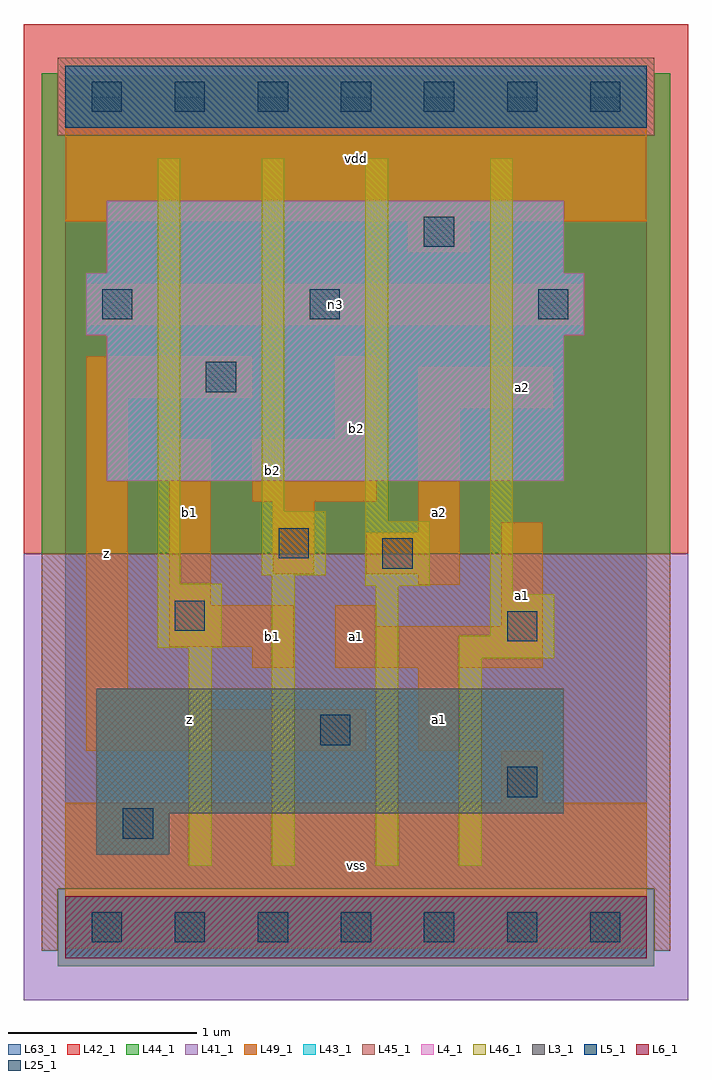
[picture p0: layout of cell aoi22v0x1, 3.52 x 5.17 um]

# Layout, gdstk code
import gdstk
lib = gdstk.Library(unit=1e-6, precision=1e-09)
def R(c, l, rs):  # rectangles x0, y0, x1, y1
    for r in rs: c.add(gdstk.rectangle(r[:2], r[2:], *l))
def A(c, l, x, y, w, h, nx, ny, dx, dy):  # array of equal rectangles
    R(c, l, [(x+i*dx, y+j*dy, x+i*dx+w, y+j*dy+h) for i in range(nx) for j in range(ny)])
L3_1 = (3, 1)
L4_1 = (4, 1)
L5_1 = (5, 1)
L6_1 = (6, 1)
L25_1 = (25, 1)
L41_1 = (41, 1)
L42_1 = (42, 1)
L43_1 = (43, 1)
L44_1 = (44, 1)
L45_1 = (45, 1)
L46_1 = (46, 1)
L49_1 = (49, 1)
L63_1 = (63, 1)

aoi22v0x1 = lib.new_cell('aoi22v0x1')
R(aoi22v0x1, L3_1, [(0.165,0.385,0.55,0.605), (0.165,0.605,2.64,1.265)])
R(aoi22v0x1, L4_1, [(0.22,2.365,2.64,3.135), (0.11,3.135,2.75,3.465), (0.22,3.465,2.64,3.85)])
R(aoi22v0x1, L5_1, [(0,4.235,3.08,4.565)])
R(aoi22v0x1, L6_1, [(0,-0.165,3.08,0.165)])
A(aoi22v0x1, L25_1, 0.14, -0.08, 0.16, 0.16, 7, 2, 0.44, 4.4)
R(aoi22v0x1, L25_1, [(0.305,0.47,0.465,0.63), (2.34,0.69,2.5,0.85), (1.35,0.965,1.51,1.125), (2.34,1.515,2.5,1.675), (0.58,1.57,0.74,1.73), (1.68,1.9,1.84,2.06), (1.13,1.955,1.29,2.115), (0.745,2.835,0.905,2.995), (0.195,3.22,0.355,3.38), (1.295,3.22,1.455,3.38), (2.505,3.22,2.665,3.38), (1.9,3.605,2.06,3.765)])
R(aoi22v0x1, L41_1, [(-0.22,-0.385,3.3,1.98)])
R(aoi22v0x1, L42_1, [(-0.22,1.98,3.3,4.785)])
R(aoi22v0x1, L43_1, [(0,-0.165,3.08,0.165), (0.165,0.385,0.55,0.605), (0.165,0.605,2.64,1.265), (0.22,2.365,2.64,3.135), (0.11,3.135,2.75,3.465), (0.22,3.465,2.64,3.85), (0,4.235,3.08,4.565)])
R(aoi22v0x1, L44_1, [(-0.04,-0.205,3.12,0.205), (-0.125,1.98,3.205,4.195), (-0.125,4.195,-0.04,4.525), (3.12,4.195,3.205,4.525)])
R(aoi22v0x1, L45_1, [(-0.125,-0.125,-0.04,0.205), (3.12,-0.125,3.205,0.205), (-0.125,0.205,3.205,1.98), (-0.04,4.195,3.12,4.605)])
R(aoi22v0x1, L46_1, [(0.655,0.325,0.775,1.48), (1.095,0.325,1.215,1.865), (1.645,0.325,1.765,1.81), (2.085,0.325,2.205,1.425), (2.085,1.425,2.59,1.545), (0.49,1.48,0.83,1.82), (2.25,1.545,2.59,1.765), (2.25,1.765,2.37,4.075), (1.59,1.81,1.93,2.15), (0.49,1.82,0.61,4.075), (1.04,1.865,1.38,2.205), (1.59,2.15,1.71,4.075), (1.04,2.205,1.16,4.075)])
R(aoi22v0x1, L49_1, [(0,-0.11,3.08,0.66), (2.31,0.66,2.53,0.935), (0.11,0.935,1.595,1.155), (1.87,0.935,2.09,1.375), (0.11,1.155,0.77,1.265), (0.11,1.265,0.33,2.805), (0.99,1.375,1.21,1.485), (1.43,1.375,2.53,1.595), (0.55,1.485,1.21,1.705), (1.43,1.595,1.65,1.705), (2.31,1.595,2.53,2.145), (0.55,1.705,0.77,2.585), (1.87,1.815,2.09,1.87), (1.1,1.87,1.32,2.255), (1.595,1.87,2.09,2.09), (1.87,2.09,2.09,2.75), (0.99,2.255,1.65,2.585), (1.43,2.585,1.65,3.025), (1.87,2.75,2.585,2.97), (0.11,2.805,0.99,3.025), (0.11,3.19,2.75,3.41), (1.815,3.575,2.145,3.74), (0,3.74,3.08,4.51)])
R(aoi22v0x1, L63_1, [(0,0,3.08,4.4)])
aoi22v0x1.add(gdstk.Label('z', (0.22,1.98), layer=49, texttype=1))
aoi22v0x1.add(gdstk.Label('z', (0.66,1.1), layer=49, texttype=1))
aoi22v0x1.add(gdstk.Label('b1', (0.66,2.2), layer=49, texttype=1))
aoi22v0x1.add(gdstk.Label('vss', (1.54,0.33), layer=49, texttype=1))
aoi22v0x1.add(gdstk.Label('b1', (1.1,1.54), layer=49, texttype=1))
aoi22v0x1.add(gdstk.Label('a1', (1.54,1.54), layer=49, texttype=1))
aoi22v0x1.add(gdstk.Label('b2', (1.1,2.42), layer=49, texttype=1))
aoi22v0x1.add(gdstk.Label('b2', (1.54,2.64), layer=49, texttype=1))
aoi22v0x1.add(gdstk.Label('vdd', (1.54,4.07), layer=49, texttype=1))
aoi22v0x1.add(gdstk.Label('a1', (1.98,1.1), layer=49, texttype=1))
aoi22v0x1.add(gdstk.Label('a1', (2.42,1.76), layer=49, texttype=1))
aoi22v0x1.add(gdstk.Label('a2', (1.98,2.2), layer=49, texttype=1))
aoi22v0x1.add(gdstk.Label('a2', (2.42,2.86), layer=49, texttype=1))
aoi22v0x1.add(gdstk.Label('n3', (1.43,3.3), layer=49, texttype=1))

lib.write_gds('aoi22v0x1.gds')
